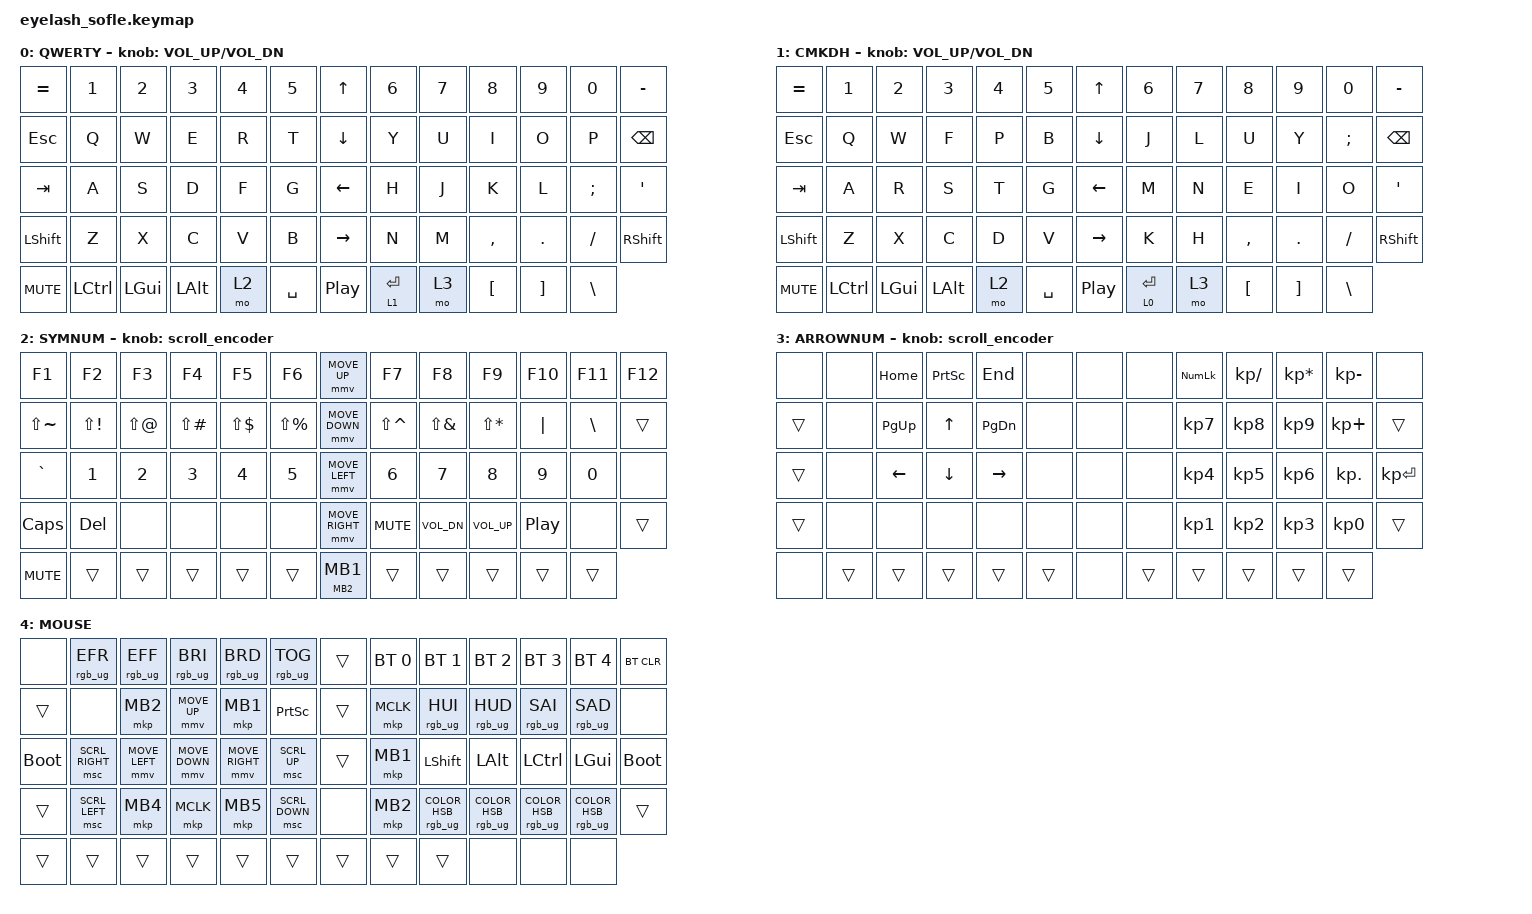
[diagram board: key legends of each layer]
#define ZMK_POINTING_DEFAULT_MOVE_VAL 1200  // 600
#define ZMK_POINTING_DEFAULT_SCRL_VAL 25   // 10

#include <input/processors.dtsi>
#include <zephyr/dt-bindings/input/input-event-codes.h>
#include <behaviors.dtsi>
#include <dt-bindings/zmk/bt.h>
#include <dt-bindings/zmk/keys.h>
#include <dt-bindings/zmk/pointing.h>
#include <dt-bindings/zmk/rgb.h>

&mmv_input_listener { input-processors = <&zip_xy_scaler 2 1>; };

&msc_input_listener { input-processors = <&zip_scroll_scaler 2 1>; };

&msc {
    acceleration-exponent = <1>;      // 0
    time-to-max-speed-ms = <100>;       // 300
    delay-ms = <0>;                   // 0
};

&mmv {
    time-to-max-speed-ms = <500>;
    acceleration-exponent = <1>;
    trigger-period-ms = <16>;
};

&mt {
    tapping-term-ms = <220>;
    quick-tap-ms = <220>;
    require-prior-idle-ms = <150>;
    flavor = "tap-preferred";
    hold-trigger-key-positions = <27 28 29 30 34 35 36 37>;
    hold-trigger-on-release;
    bindings = <&mkp>, <&mkp>;
};

/ {
    scroll_encoder: scroll_encoder {
        compatible = "zmk,behavior-sensor-rotate";
        #sensor-binding-cells = <0>;
        bindings = <&msc SCRL_DOWN>, <&msc SCRL_UP>;

        tap-ms = <100>;
    };

    behaviors {
        td0: td0 {
            compatible = "zmk,behavior-tap-dance";
            display-name = "Shift/Caps Lock Tap Dance";
            #binding-cells = <0>;
            bindings = <&kp LEFT_SHIFT>, <&kp CAPS>;
        };

        mouse_click: mouse_click {
            compatible = "zmk,behavior-hold-tap";
            label = "MOUSE_CLICK";
            #binding-cells = <2>;
            tapping-term-ms = <500>;
            flavor = "balanced";
            hold-trigger-key-positions = <20>;
            hold-trigger-on-release;
            bindings = <&mkp>, <&mkp>;
        };

        mod_kp: mod_kp {
            compatible = "zmk,behavior-hold-tap";
            label = "MOD_KP";
            bindings = <&mo>, <&kp>;

            #binding-cells = <2>;
            tapping-term-ms = <130>;
            flavor = "hold-preferred";
            quick-tap-ms = <130>;
            hold-trigger-key-positions = <42 44 45 47 43 46>;
        };

        to_kp: to_kp {
            compatible = "zmk,behavior-hold-tap";
            label = "TO_KP";
            bindings = <&to>, <&kp>;

            #binding-cells = <2>;
            tapping-term-ms = <500>;
            flavor = "tap-preferred";
        };

        mt_pinky: mt_pinky {
            compatible = "zmk,behavior-hold-tap";
            label = "MT_PINKY";
            bindings = <&kp>, <&kp>;

            #binding-cells = <2>;
            tapping-term-ms = <200>;
            quick-tap-ms = <180>;
            require-prior-idle-ms = <150>;
            flavor = "tap-preferred";
            hold-trigger-key-positions = <14 26>;
            hold-trigger-on-release;
        };
    };

    keymap {
        compatible = "zmk,keymap";

        layer_0 {
            bindings = <
&kp EQUAL   &kp N1     &kp N2        &kp N3        &kp N4  &kp N5       &kp UP_ARROW      &kp N6          &kp N7  &kp N8            &kp N9             &kp N0         &kp MINUS
&kp ESC     &kp Q      &kp W         &kp E         &kp R   &kp T        &kp DOWN_ARROW    &kp Y           &kp U   &kp I             &kp O              &kp P          &kp BACKSPACE
&kp TAB     &kp A      &kp S         &kp D         &kp F   &kp G        &kp LEFT_ARROW    &kp H           &kp J   &kp K             &kp L              &kp SEMI       &kp APOS
&kp LSHFT   &kp Z      &kp X         &kp C         &kp V   &kp B        &kp RIGHT_ARROW   &kp N           &kp M   &kp COMMA         &kp DOT            &kp FSLH       &kp RSHIFT
&kp C_MUTE  &kp LCTRL  &kp LEFT_GUI  &kp LEFT_ALT  &mo 2   &kp SPACE    &kp C_PLAY_PAUSE  &to_kp 1 ENTER  &mo 3   &kp LEFT_BRACKET  &kp RIGHT_BRACKET  &kp BACKSLASH
            >;

            sensor-bindings = <&inc_dec_kp C_VOLUME_UP C_VOL_DN>;
            display-name = "QWERTY";
        };

        layer_1 {
            bindings = <
&kp EQUAL   &kp N1     &kp N2        &kp N3        &kp N4  &kp N5       &kp UP_ARROW      &kp N6          &kp N7  &kp N8            &kp N9             &kp N0         &kp MINUS
&kp ESC     &kp Q      &kp W         &kp F         &kp P   &kp B        &kp DOWN_ARROW    &kp J           &kp L   &kp U             &kp Y              &kp SEMI       &kp BACKSPACE
&kp TAB     &kp A      &kp R         &kp S         &kp T   &kp G        &kp LEFT_ARROW    &kp M           &kp N   &kp E             &kp I              &kp O          &kp APOS
&kp LSHFT   &kp Z      &kp X         &kp C         &kp D   &kp V        &kp RIGHT_ARROW   &kp K           &kp H   &kp COMMA         &kp DOT            &kp FSLH       &kp RSHIFT
&kp C_MUTE  &kp LCTRL  &kp LEFT_GUI  &kp LEFT_ALT  &mo 2   &kp SPACE    &kp C_PLAY_PAUSE  &to_kp 0 ENTER  &mo 3   &kp LEFT_BRACKET  &kp RIGHT_BRACKET  &kp BACKSLASH
            >;

            sensor-bindings = <&inc_dec_kp C_VOLUME_UP C_VOL_DN>;
            display-name = "CMKDH";
        };

        layer_2 {
            bindings = <
&kp F1         &kp F2             &kp F3        &kp F4         &kp F5         &kp F6           &mmv MOVE_UP          &kp F7         &kp F8         &kp F9        &kp F10       &kp F11            &kp F12
&kp LS(TILDE)  &kp LS(EXCL)       &kp LS(AT)    &kp LS(POUND)  &kp LS(DLLR)   &kp LS(PRCNT)    &mmv MOVE_DOWN        &kp LS(CARET)  &kp LS(AMPS)   &kp LS(STAR)  &kp PIPE      &kp BSLH           &trans
&kp GRAVE      &kp N1  &kp  N2  &kp  N3    &kp  N4  &kp N5           &mmv MOVE_LEFT        &kp N6         &kp  N7  &kp  N8   &kp  N9  &kp  N0  &none
&kp CAPS       &kp DELETE         &none         &none          &none          &none            &mmv MOVE_RIGHT       &kp C_MUTE     &kp C_VOL_DN   &kp C_VOL_UP  &kp C_PP      &none              &trans
&kp C_MUTE     &trans             &trans        &trans         &trans         &trans           &mouse_click MB2 MB1  &trans         &trans         &trans        &trans        &trans
            >;

            display-name = "SYMNUM";
            sensor-bindings = <&scroll_encoder>;
        };

        layer_3 {
            bindings = <
&none   &none   &kp HOME     &kp PRINTSCREEN  &kp END        &none     &none  &none   &kp KP_NUMLOCK   &kp KP_DIVIDE    &kp KP_MULTIPLY  &kp KP_MINUS     &none
&trans  &none   &kp PAGE_UP  &kp UP           &kp PAGE_DOWN  &none     &none  &none   &kp KP_NUMBER_7  &kp KP_NUMBER_8  &kp KP_NUMBER_9  &kp KP_PLUS      &trans
&trans  &none   &kp LEFT     &kp DOWN         &kp RIGHT      &none     &none  &none   &kp KP_NUMBER_4  &kp KP_NUMBER_5  &kp KP_NUMBER_6  &kp KP_DOT       &kp KP_ENTER
&trans  &none   &none        &none            &none          &none     &none  &none   &kp KP_NUMBER_1  &kp KP_NUMBER_2  &kp KP_NUMBER_3  &kp KP_NUMBER_0  &trans
&none   &trans  &trans       &trans           &trans         &trans    &none  &trans  &trans           &trans           &trans           &trans
            >;

            sensor-bindings = <&scroll_encoder>;
            label = "ARROWNUM";
        };

        layer_4 {
            bindings = <
&none        &rgb_ug RGB_EFR  &rgb_ug RGB_EFF  &rgb_ug RGB_BRI  &rgb_ug RGB_BRD  &rgb_ug RGB_TOG    &trans  &bt BT_SEL 0  &bt BT_SEL 1                      &bt BT_SEL 2                       &bt BT_SEL 3                      &bt BT_SEL 4                       &bt BT_CLR
&trans       &none            &mkp MB2         &mmv MOVE_UP     &mkp MB1         &kp PRINTSCREEN    &trans  &mkp MCLK     &rgb_ug RGB_HUI                   &rgb_ug RGB_HUD                    &rgb_ug RGB_SAI                   &rgb_ug RGB_SAD                    &none
&bootloader  &msc SCRL_RIGHT  &mmv MOVE_LEFT   &mmv MOVE_DOWN   &mmv MOVE_RIGHT  &msc SCRL_UP       &trans  &mkp MB1      &kp LEFT_SHIFT                    &kp LALT                           &kp LCTRL                         &kp LGUI                           &bootloader
&trans       &msc SCRL_LEFT   &mkp MB4         &mkp MCLK        &mkp MB5         &msc SCRL_DOWN     &none   &mkp MB2      &rgb_ug RGB_COLOR_HSB(186,96,47)  &rgb_ug RGB_COLOR_HSB(310,100,50)  &rgb_ug RGB_COLOR_HSB(18,100,50)  &rgb_ug RGB_COLOR_HSB(126,100,50)  &trans
&trans       &trans           &trans           &trans           &trans           &trans             &trans  &trans        &trans                            &none                              &none                             &none
            >;

            label = "MOUSE";
        };
    };

    conditional_layers {
        compatible = "zmk,conditional-layers";

        MOUSE {
            if-layers = <2 3>;
            then-layer = <4>;
        };
    };
};
